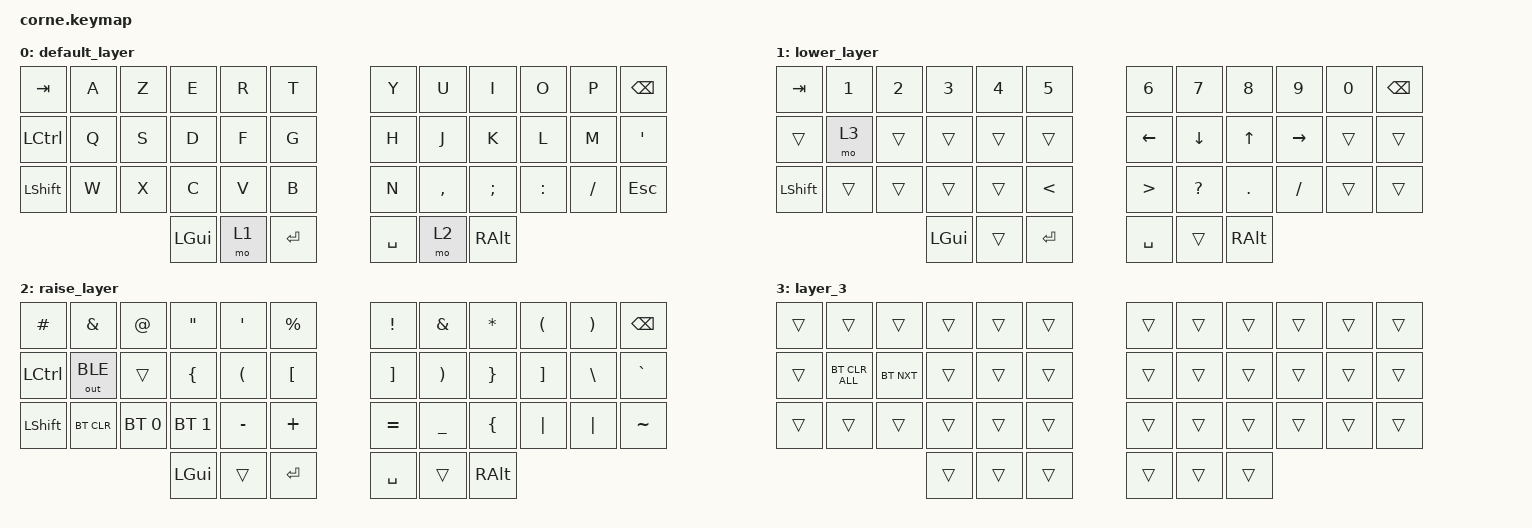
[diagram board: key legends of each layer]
/*
 * Copyright (c) 2020 The ZMK Contributors
 *
 * SPDX-License-Identifier: MIT
 */

#include <behaviors.dtsi>
#include <dt-bindings/zmk/bt.h>
#include <dt-bindings/zmk/keys.h>
#include <dt-bindings/zmk/outputs.h>

/ {
    keymap {
        compatible = "zmk,keymap";

        default_layer {
            // -----------------------------------------------------------------------------------------
            // |  TAB |  Q  |  W  |  E  |  R  |  T  |   |  Y  |  U   |  I  |  O  |  P  | BKSP |
            // | CTRL |  A  |  S  |  D  |  F  |  G  |   |  H  |  J   |  K  |  L  |  ;  |  '   |
            // | SHFT |  Z  |  X  |  C  |  V  |  B  |   |  N  |  M   |  ,  |  .  |  /  | ESC  |
            //                    | GUI | LWR | SPC |   | ENT | RSE  | ALT |

            bindings = <
&kp TAB    &kp A  &kp Z  &kp E     &kp R  &kp T      &kp Y      &kp U      &kp I     &kp O      &kp P     &kp BSPC
&kp LCTRL  &kp Q  &kp S  &kp D     &kp F  &kp G      &kp H      &kp J      &kp K     &kp L      &kp M     &kp SQT
&kp LSHFT  &kp W  &kp X  &kp C     &kp V  &kp B      &kp N      &kp COMMA  &kp SEMI  &kp COLON  &kp FSLH  &kp ESC
                         &kp LGUI  &mo 1  &kp RET    &kp SPACE  &mo 2      &kp RALT
            >;
        };

        lower_layer {
            // -----------------------------------------------------------------------------------------
            // |  TAB |  1  |  2  |  3  |  4  |  5  |   |  6  |  7  |  8  |  9  |  0  | BKSP |
            // | BTCLR| BT1 | BT2 | BT3 | BT4 | BT5 |   | LFT | DWN |  UP | RGT |     |      |
            // | SHFT |     |     |     |     |     |   |     |     |     |     |     |      |
            //                    | GUI |     | SPC |   | ENT |     | ALT |

            bindings = <
&kp TAB    &kp N1  &kp N2  &kp N3    &kp N4  &kp N5           &kp N6            &kp N7     &kp N8    &kp N9     &kp N0  &kp BSPC
&trans     &mo 3   &trans  &trans    &trans  &trans           &kp LEFT          &kp DOWN   &kp UP    &kp RIGHT  &trans  &trans
&kp LSHFT  &trans  &trans  &trans    &trans  &kp LESS_THAN    &kp GREATER_THAN  &kp QMARK  &kp DOT   &kp SLASH  &trans  &trans
                           &kp LGUI  &trans  &kp RET          &kp SPACE         &trans     &kp RALT
            >;
        };

        raise_layer {
            // -----------------------------------------------------------------------------------------
            // |  TAB |  !  |  @  |  #  |  $  |  %  |   |  ^  |  &  |  *  |  (  |  )  | BKSP |
            // | CTRL |     |     |     |     |     |   |  -  |  =  |  [  |  ]  |  \  |  `   |
            // | SHFT |     |     |     |     |     |   |  _  |  +  |  {  |  }  | "|" |  ~   |
            //                    | GUI |     | SPC |   | ENT |     | ALT |

            bindings = <
&kp HASH   &kp AMPS      &kp AT        &kp DOUBLE_QUOTES  &kp SINGLE_QUOTE      &kp PRCNT           &kp EXCL           &kp AMPS               &kp ASTRK        &kp LPAR  &kp RPAR  &kp BSPC
&kp LCTRL  &out OUT_BLE  &trans        &kp LEFT_BRACE     &kp LEFT_PARENTHESIS  &kp LEFT_BRACKET    &kp RIGHT_BRACKET  &kp RIGHT_PARENTHESIS  &kp RIGHT_BRACE  &kp RBKT  &kp BSLH  &kp GRAVE
&kp LSHFT  &bt BT_CLR    &bt BT_SEL 0  &bt BT_SEL 1       &kp MINUS             &kp PLUS            &kp EQUAL          &kp UNDER              &kp LBRC         &kp PIPE  &kp PIPE  &kp TILDE
                                       &kp LGUI           &trans                &kp RET             &kp SPACE          &trans                 &kp RALT
            >;
        };

        layer_3 {
            bindings = <
&trans  &trans          &trans      &trans  &trans  &trans    &trans  &trans  &trans  &trans  &trans  &trans
&trans  &bt BT_CLR_ALL  &bt BT_NXT  &trans  &trans  &trans    &trans  &trans  &trans  &trans  &trans  &trans
&trans  &trans          &trans      &trans  &trans  &trans    &trans  &trans  &trans  &trans  &trans  &trans
                                    &trans  &trans  &trans    &trans  &trans  &trans
            >;
        };
    };
};
